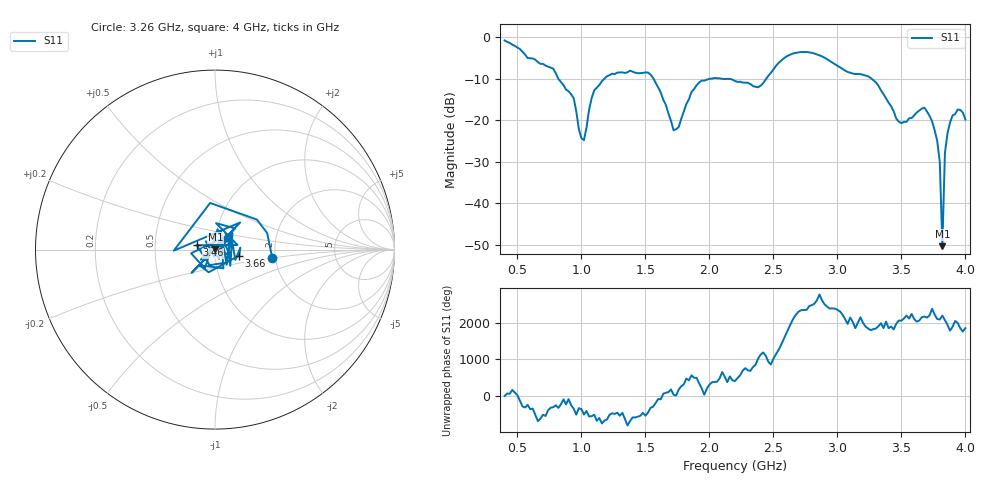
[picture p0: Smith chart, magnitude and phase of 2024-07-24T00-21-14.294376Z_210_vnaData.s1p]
!Created with skrf (http://scikit-rf.org).
# Hz S RI R 50.0
!freq ReS11 ImS11
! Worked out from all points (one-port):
!   181 points, 400 MHz to 4 GHz, reference 50 ohm
!   lowest |S11| = -50.3 dB at 3.82 GHz (marker M1), VSWR 1.01, Z = 50.3 + j0.147 ohm
!   |S11| at or under -10 dB: 819.4 MHz to 1.179 GHz (359.4 MHz wide, 36 % of centre); 1.564 GHz to 2.006 GHz (442 MHz wide, 24.8 % of centre); 3.267 GHz to end of sweep (the widest 3 of 4)
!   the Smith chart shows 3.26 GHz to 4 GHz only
!   S11 on the Smith chart (normalised r, x): 3.26 GHz: 1.92, -0.21; 3.46 GHz: 0.81, +0.04; 3.66 GHz: 1.31, -0.09; 4 GHz: 1.14, +0.17
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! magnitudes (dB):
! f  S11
! 400 MHz  -0.8
! 780 MHz  -7.6
! 860 MHz  -11.5
! 940 MHz  -14.7
! 980 MHz  -22.1
! 1.02 GHz  -24.8
! 1.1 GHz  -12.8
! 1.3 GHz  -8.5
! 1.54 GHz  -9.0
! 1.72 GHz  -22.4
! 1.76 GHz  -21.6
! 1.92 GHz  -10.9
! 2.2 GHz  -10.5
! 2.38 GHz  -12.1
! 2.66 GHz  -3.9
! 3.1 GHz  -8.5
! 3.26 GHz  -9.8
! 3.46 GHz  -19.6
! 3.56 GHz  -19.5
! 3.66 GHz  -17.2
! 3.72 GHz  -18.9
! 3.78 GHz  -25.0
! 3.8 GHz  -30.0
! 3.82 GHz  -50.3
! 3.84 GHz  -27.9
! 3.86 GHz  -23.2
! 3.94 GHz  -17.4
! 4 GHz  -19.8
